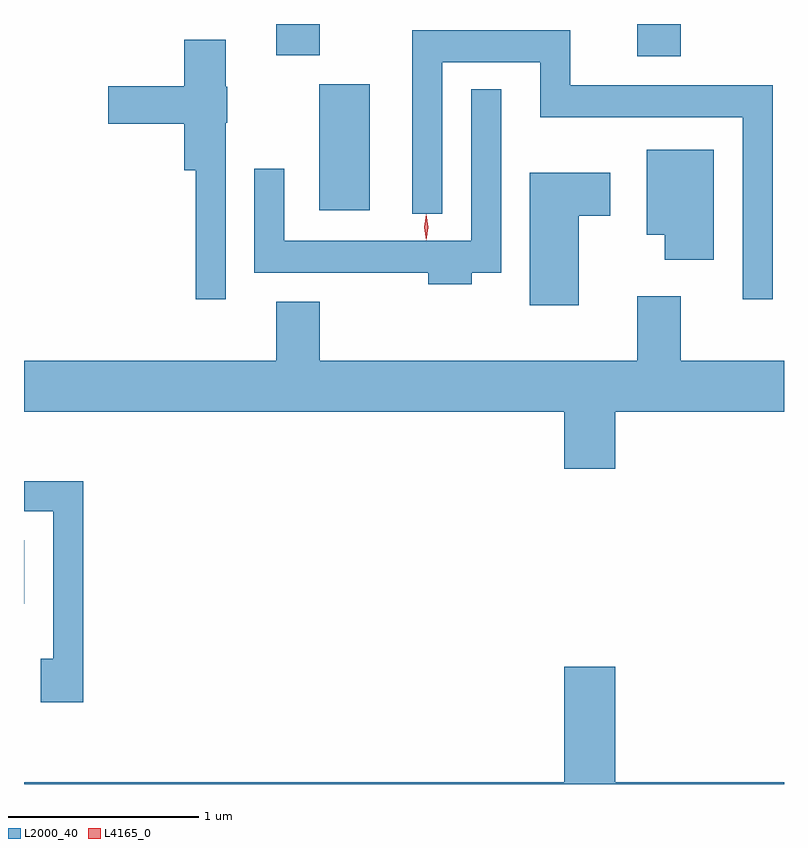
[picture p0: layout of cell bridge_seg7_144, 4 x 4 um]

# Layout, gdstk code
import gdstk
lib = gdstk.Library(unit=1e-6, precision=1e-09)
def R(c, l, rs):  # rectangles x0, y0, x1, y1
    for r in rs: c.add(gdstk.rectangle(r[:2], r[2:], *l))
def P(c, l, *ps):  # polygons
    for p in ps: c.add(gdstk.Polygon(p, *l))
L2000_40 = (2000, 40)
L4165_0 = (4165, 0)

bridge_seg7_144 = lib.new_cell('bridge_seg7_144')
R(bridge_seg7_144, L2000_40, [(1470.973,1728.846,1470.974,1729.179), (1472.526,1730.916,1472.794,1731.579), (1474.201,1731.726,1474.429,1731.896), (1472.301,1731.731,1472.529,1731.896)])
P(bridge_seg7_144, L2000_40, [(1474.914,1731.574),(1473.849,1731.574),(1473.849,1731.864),(1473.016,1731.864),(1473.016,1730.898),(1473.174,1730.898),(1473.174,1731.696),(1473.691,1731.696),(1473.691,1731.406),(1474.756,1731.406),(1474.756,1730.448),(1474.914,1730.448)],
  [(1472.034,1731.375),(1472.044,1731.375),(1472.044,1731.565),(1472.034,1731.565),(1472.034,1731.814),(1471.816,1731.814),(1471.816,1731.569),(1471.416,1731.569),(1471.416,1731.371),(1471.816,1731.371),(1471.816,1731.126),(1471.876,1731.126),(1471.876,1730.448),(1472.034,1730.448)],
  [(1473.329,1730.586),(1473.484,1730.586),(1473.484,1731.553),(1473.326,1731.553),(1473.326,1730.754),(1472.344,1730.754),(1472.344,1731.133),(1472.186,1731.133),(1472.186,1730.586),(1473.101,1730.586),(1473.101,1730.526),(1473.329,1730.526)],
  [(1474.604,1731.234),(1474.251,1731.234),(1474.251,1730.786),(1474.346,1730.786),(1474.346,1730.656),(1474.604,1730.656)],
  [(1473.894,1730.886),(1474.059,1730.886),(1474.059,1731.114),(1473.636,1731.114),(1473.636,1730.416),(1473.894,1730.416)],
  [(1474.084,1729.856),(1474.973,1729.856),(1474.973,1730.124),(1474.429,1730.124),(1474.429,1730.464),(1474.201,1730.464),(1474.201,1730.124),(1472.529,1730.124),(1472.529,1730.434),(1472.301,1730.434),(1472.301,1730.124),(1470.973,1730.124),(1470.973,1729.856),(1473.816,1729.856),(1473.816,1729.556),(1474.084,1729.556)],
  [(1471.284,1729.489),(1470.973,1729.489),(1470.973,1729.331),(1471.126,1729.331),(1471.126,1728.554),(1471.061,1728.554),(1471.061,1728.326),(1471.284,1728.326)],
  [(1474.973,1727.904),(1474.084,1727.904),(1474.084,1728.514),(1473.816,1728.514),(1473.816,1727.904),(1470.973,1727.904),(1470.973,1727.896),(1474.973,1727.896)])
P(bridge_seg7_144, L4165_0, [(1473.09,1730.757),(1473.089,1730.758),(1473.08,1730.827),(1473.09,1730.896),(1473.091,1730.896),(1473.091,1730.896),(1473.1,1730.827),(1473.09,1730.758)])

lib.write_gds('bridge_seg7_144.gds')
